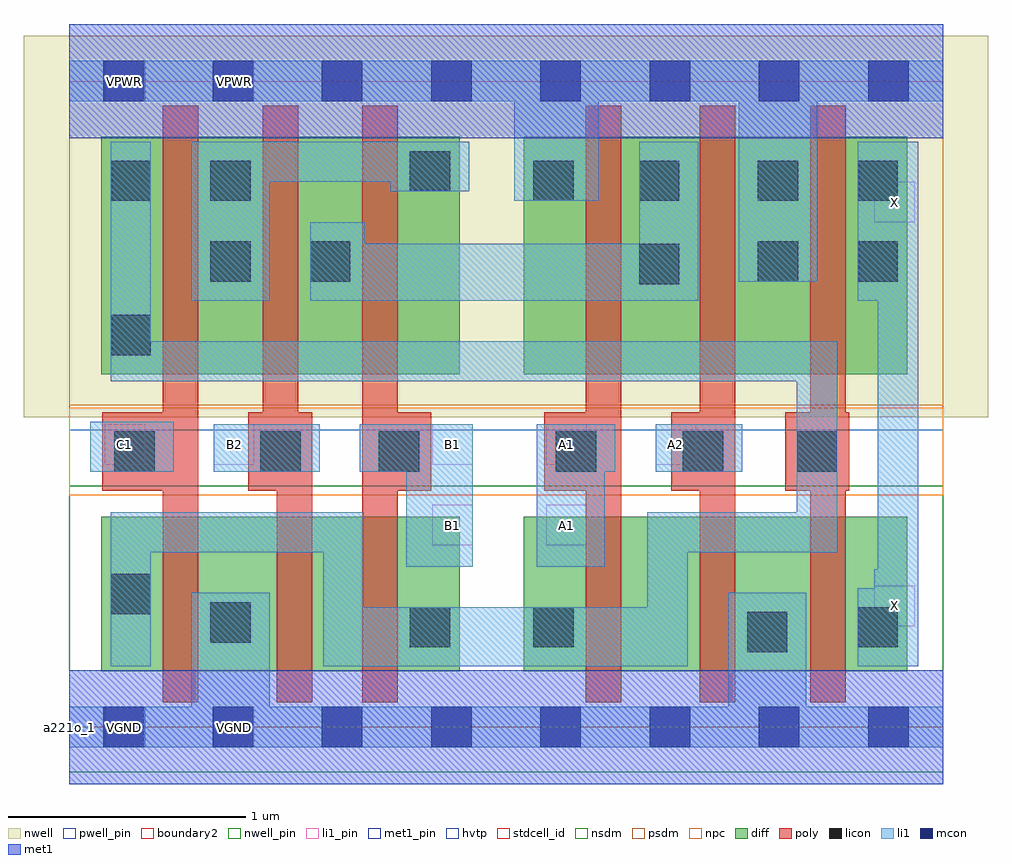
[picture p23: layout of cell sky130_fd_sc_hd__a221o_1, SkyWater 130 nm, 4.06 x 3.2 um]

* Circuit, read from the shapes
.subckt sky130_fd_sc_hd__a221o_1 A1 A2 B1 B2 C1 VGND VNB VPB VPWR X
XM1 VGND C1 n1 VNB sky130_fd_pr__nfet_01v8 w=0.65 l=0.15
XM2 n2 B2 VGND VNB sky130_fd_pr__nfet_01v8 w=0.65 l=0.15
XM3 n1 B1 n2 VNB sky130_fd_pr__nfet_01v8 w=0.65 l=0.15
XM4 n3 A1 n1 VNB sky130_fd_pr__nfet_01v8 w=0.65 l=0.15
XM5 VGND A2 n3 VNB sky130_fd_pr__nfet_01v8 w=0.65 l=0.15
XM6 X n1 VGND VNB sky130_fd_pr__nfet_01v8 w=0.65 l=0.15
XM7 n4 C1 n1 VPB sky130_fd_pr__pfet_01v8_hvt w=1 l=0.15
XM8 n5 B2 n4 VPB sky130_fd_pr__pfet_01v8_hvt w=1 l=0.15
XM9 n4 B1 n5 VPB sky130_fd_pr__pfet_01v8_hvt w=1 l=0.15
XM10 n5 A1 VPWR VPB sky130_fd_pr__pfet_01v8_hvt w=1 l=0.15
XM11 VPWR A2 n5 VPB sky130_fd_pr__pfet_01v8_hvt w=1 l=0.15
XM12 X n1 VPWR VPB sky130_fd_pr__pfet_01v8_hvt w=1 l=0.15
.ends

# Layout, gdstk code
import gdstk
lib = gdstk.Library(unit=1e-6, precision=1e-09)
def R(c, l, rs):  # rectangles x0, y0, x1, y1
    for r in rs: c.add(gdstk.rectangle(r[:2], r[2:], *l))
def A(c, l, x, y, w, h, nx, ny, dx, dy):  # array of equal rectangles
    R(c, l, [(x+i*dx, y+j*dy, x+i*dx+w, y+j*dy+h) for i in range(nx) for j in range(ny)])
def P(c, l, *ps):  # polygons
    for p in ps: c.add(gdstk.Polygon(p, *l))
nwell_pin = (64, 16)
nwell = (64, 20)
diff = (65, 20)
poly = (66, 20)
licon = (66, 44)
li1_pin = (67, 16)
li1 = (67, 20)
mcon = (67, 44)
met1_pin = (68, 16)
met1 = (68, 20)
hvtp = (78, 44)
stdcell_id = (81, 4)
nsdm = (93, 44)
psdm = (94, 20)
npc = (95, 20)
pwell_pin = (122, 16)
boundary2 = (236, 0)

sky130_fd_sc_hd__a221o_1 = lib.new_cell('sky130_fd_sc_hd__a221o_1')
R(sky130_fd_sc_hd__a221o_1, nwell_pin, [(0.15,2.635,0.32,2.805)])
R(sky130_fd_sc_hd__a221o_1, nwell, [(-0.19,1.305,3.87,2.91)])
R(sky130_fd_sc_hd__a221o_1, diff, [(0.135,0.235,1.645,0.885), (1.915,0.235,3.53,0.885), (0.135,1.485,1.645,2.485), (1.915,1.485,3.53,2.485)])
P(sky130_fd_sc_hd__a221o_1, poly, [(0.545,2.615),(0.395,2.615),(0.395,1.325),(0.14,1.325),(0.14,0.995),(0.395,0.995),(0.395,0.105),(0.545,0.105)],
  [(1.025,1.325),(0.965,1.325),(0.965,2.615),(0.815,2.615),(0.815,1.325),(0.755,1.325),(0.755,0.995),(0.875,0.995),(0.875,0.105),(1.025,0.105)],
  [(1.525,1.325),(1.385,1.325),(1.385,2.615),(1.235,2.615),(1.235,0.105),(1.385,0.105),(1.385,0.995),(1.525,0.995)],
  [(2.325,2.615),(2.175,2.615),(2.175,1.325),(2,1.325),(2,0.995),(2.175,0.995),(2.175,0.105),(2.325,0.105)],
  [(2.805,2.615),(2.655,2.615),(2.655,1.325),(2.535,1.325),(2.535,0.995),(2.655,0.995),(2.655,0.105),(2.805,0.105)],
  [(3.285,1.325),(3.27,1.325),(3.27,2.615),(3.12,2.615),(3.12,1.325),(3.015,1.325),(3.015,0.995),(3.12,0.995),(3.12,0.105),(3.27,0.105),(3.27,0.995),(3.285,0.995)])
R(sky130_fd_sc_hd__a221o_1, licon, [(2.855,0.315,3.025,0.485), (1.435,0.335,1.605,0.505), (1.955,0.335,2.125,0.505), (3.32,0.335,3.49,0.505), (0.595,0.355,0.765,0.525), (0.175,0.475,0.345,0.645), (0.19,1.075,0.36,1.245), (0.805,1.075,0.975,1.245), (1.305,1.075,1.475,1.245), (2.05,1.075,2.22,1.245), (2.585,1.075,2.755,1.245), (3.065,1.075,3.235,1.245), (0.175,1.565,0.345,1.735), (2.4,1.865,2.57,2.035), (0.595,1.875,0.765,2.045), (1.015,1.875,1.185,2.045), (2.9,1.875,3.07,2.045), (3.32,1.875,3.49,2.045), (0.175,2.215,0.345,2.385), (0.595,2.215,0.765,2.385), (1.955,2.215,2.125,2.385), (2.4,2.215,2.57,2.385), (2.9,2.215,3.07,2.385), (3.32,2.215,3.49,2.385), (1.435,2.255,1.605,2.425)])
R(sky130_fd_sc_hd__a221o_1, li1_pin, [(0.61,-0.085,0.78,0.085), (3.39,0.425,3.56,0.595), (1.53,0.765,1.7,0.935), (2.01,0.765,2.18,0.935), (0.15,1.105,0.32,1.275), (0.61,1.105,0.78,1.275), (1.53,1.105,1.7,1.275), (2.01,1.105,2.18,1.275), (2.47,1.105,2.64,1.275), (3.39,2.125,3.56,2.295), (0.61,2.635,0.78,2.805)])
R(sky130_fd_sc_hd__a221o_1, li1, [(0.09,1.075,0.44,1.285), (0.61,1.075,1.055,1.275), (2.47,1.075,2.835,1.275)])
P(sky130_fd_sc_hd__a221o_1, li1, [(2.3,1.275),(1.97,1.275),(1.97,0.675),(2.255,0.675),(2.255,1.075),(2.3,1.075)],
  [(1.7,1.275),(1.225,1.275),(1.225,1.075),(1.42,1.075),(1.42,0.675),(1.7,0.675)],
  [(3.575,2.465),(3.32,2.465),(3.32,1.795),(3.405,1.795),(3.405,0.665),(3.39,0.665),(3.39,0.585),(3.32,0.585),(3.32,0.255),(3.575,0.255)],
  [(1.685,2.465),(0.515,2.465),(0.515,1.795),(0.845,1.795),(0.845,2.295),(1.355,2.295),(1.355,2.255),(1.685,2.255)],
  [(2.65,2.465),(2.4,2.465),(2.4,2.035),(1.245,2.035),(1.245,2.125),(1.015,2.125),(1.015,1.795),(2.65,1.795)],
  [(3.68,2.805),(0,2.805),(0,2.635),(1.875,2.635),(1.875,2.215),(2.23,2.215),(2.23,2.635),(2.82,2.635),(2.82,1.875),(3.15,1.875),(3.15,2.635),(3.68,2.635)],
  [(3.68,0.085),(3.105,0.085),(3.105,0.565),(2.775,0.565),(2.775,0.085),(0.845,0.085),(0.845,0.565),(0.515,0.565),(0.515,0.085),(0,0.085),(0,-0.085),(3.68,-0.085)],
  [(3.235,1.625),(0.345,1.625),(0.345,2.465),(0.175,2.465),(0.175,1.455),(3.065,1.455),(3.065,0.905),(2.435,0.905),(2.435,0.505),(1.24,0.505),(1.24,0.905),(0.175,0.905),(0.175,0.255),(0.345,0.255),(0.345,0.735),(1.07,0.735),(1.07,0.255),(2.605,0.255),(2.605,0.735),(3.235,0.735)])
A(sky130_fd_sc_hd__a221o_1, mcon, 0.145, -0.085, 0.17, 0.17, 8, 2, 0.46, 2.72)
R(sky130_fd_sc_hd__a221o_1, met1_pin, [(0.15,-0.085,0.32,0.085), (0.15,2.635,0.32,2.805)])
R(sky130_fd_sc_hd__a221o_1, hvtp, [(0,1.25,3.68,2.72)])
R(sky130_fd_sc_hd__a221o_1, stdcell_id, [(0,0,3.68,2.72)])
R(sky130_fd_sc_hd__a221o_1, nsdm, [(0,-0.19,3.68,1.015)])
R(sky130_fd_sc_hd__a221o_1, psdm, [(0,1.355,3.68,2.91)])
R(sky130_fd_sc_hd__a221o_1, npc, [(0,0.975,3.68,1.345)])
R(sky130_fd_sc_hd__a221o_1, pwell_pin, [(0.15,-0.085,0.32,0.085)])
R(sky130_fd_sc_hd__a221o_1, boundary2, [(0,0,3.68,2.72)])
sky130_fd_sc_hd__a221o_1.add(gdstk.FlexPath([(0,0),(3.68,0)], 0.48, ends="flush", simple_path=True, layer=68, datatype=20))  # met1
sky130_fd_sc_hd__a221o_1.add(gdstk.FlexPath([(0,2.72),(3.68,2.72)], 0.48, ends="flush", simple_path=True, layer=68, datatype=20))  # met1
sky130_fd_sc_hd__a221o_1.add(gdstk.Label('X', (3.475,0.51), layer=67, texttype=5))
sky130_fd_sc_hd__a221o_1.add(gdstk.Label('B1', (1.615,0.85), layer=67, texttype=5))
sky130_fd_sc_hd__a221o_1.add(gdstk.Label('A1', (2.095,0.85), layer=67, texttype=5))
sky130_fd_sc_hd__a221o_1.add(gdstk.Label('B1', (1.615,1.19), layer=67, texttype=5))
sky130_fd_sc_hd__a221o_1.add(gdstk.Label('B2', (0.695,1.19), layer=67, texttype=5))
sky130_fd_sc_hd__a221o_1.add(gdstk.Label('X', (3.475,2.21), layer=67, texttype=5))
sky130_fd_sc_hd__a221o_1.add(gdstk.Label('A2', (2.555,1.19), layer=67, texttype=5))
sky130_fd_sc_hd__a221o_1.add(gdstk.Label('A1', (2.095,1.19), layer=67, texttype=5))
sky130_fd_sc_hd__a221o_1.add(gdstk.Label('VGND', (0.695,0), layer=67, texttype=5))
sky130_fd_sc_hd__a221o_1.add(gdstk.Label('VPWR', (0.695,2.72), layer=67, texttype=5))
sky130_fd_sc_hd__a221o_1.add(gdstk.Label('C1', (0.235,1.19), layer=67, texttype=5))
sky130_fd_sc_hd__a221o_1.add(gdstk.Label('VPWR', (0.235,2.72), layer=68, texttype=5))
sky130_fd_sc_hd__a221o_1.add(gdstk.Label('VGND', (0.235,0), layer=68, texttype=5))
sky130_fd_sc_hd__a221o_1.add(gdstk.Label('VPB', (0.235,2.72), layer=64, texttype=5))
sky130_fd_sc_hd__a221o_1.add(gdstk.Label('VNB', (0.235,0), layer=64, texttype=59))
sky130_fd_sc_hd__a221o_1.add(gdstk.Label('a221o_1', (0,0), layer=83, texttype=44))

lib.write_gds('sky130_fd_sc_hd__a221o_1.gds')
